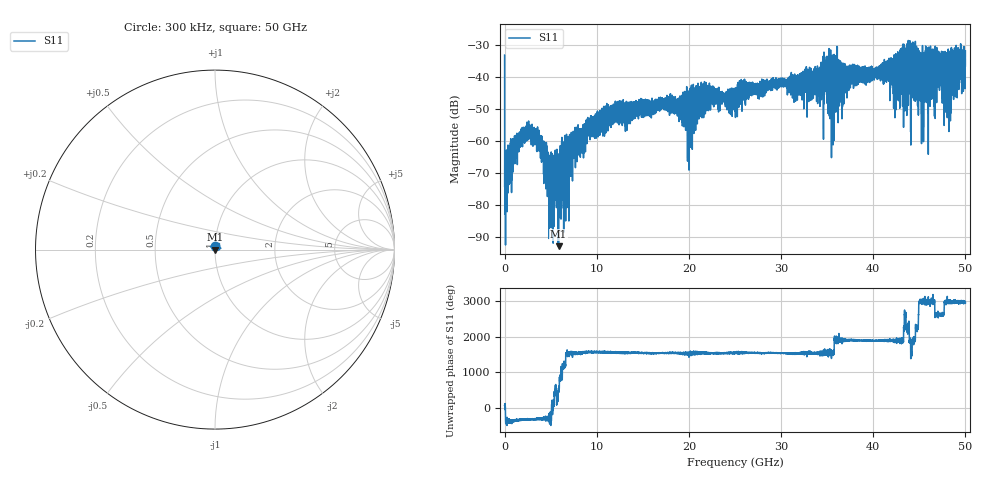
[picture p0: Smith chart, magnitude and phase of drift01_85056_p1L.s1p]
!Created with skrf (http://scikit-rf.org).
# Hz S RI R 50.0
!freq ReS11 ImS11
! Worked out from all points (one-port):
!   10001 points, 300 kHz to 50 GHz, reference 50 ohm
!   lowest |S11| = -92.7 dB at 5.85 GHz (marker M1), VSWR 1.00, Z = 50 - j0.000595 ohm
!   |S11| at or under -10 dB: start of sweep to end of sweep
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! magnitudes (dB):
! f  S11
! 300 kHz  -33.2
! 260.3 MHz  -77.7
! 1.685 GHz  -57.3
! 2.63 GHz  -55.0
! 3.94 GHz  -63.5
! 5.045 GHz  -81.9
! 5.85 GHz  -92.7
! 6.25 GHz  -66.1
! 7.42 GHz  -57.7
! 8.38 GHz  -61.0
! 9.2 GHz  -52.9
! 12.5 GHz  -47.7
! 18.75 GHz  -49.8
! 20.02 GHz  -69.0
! 21.51 GHz  -43.2
! 25 GHz  -46.0
! 25.86 GHz  -42.8
! 31.25 GHz  -39.5
! 34.22 GHz  -39.3
! 35.55 GHz  -39.2
! 36.43 GHz  -41.4
! 37.5 GHz  -42.4
! 42.41 GHz  -35.2
! 43.75 GHz  -40.6
! 45.21 GHz  -36.0
! 45.71 GHz  -32.3
! 47.85 GHz  -34.9
! 50 GHz  -31.9
